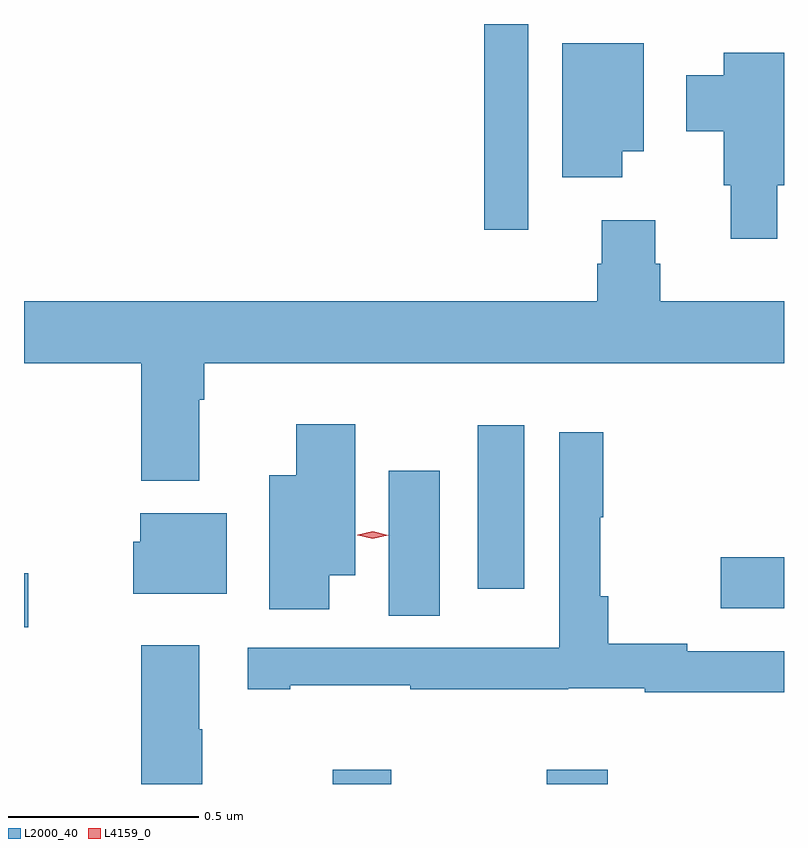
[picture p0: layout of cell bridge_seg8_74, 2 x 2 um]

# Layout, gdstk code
import gdstk
lib = gdstk.Library(unit=1e-6, precision=1e-09)
def R(c, l, rs):  # rectangles x0, y0, x1, y1
    for r in rs: c.add(gdstk.rectangle(r[:2], r[2:], *l))
def P(c, l, *ps):  # polygons
    for p in ps: c.add(gdstk.Polygon(p, *l))
L2000_40 = (2000, 40)
L4159_0 = (4159, 0)

bridge_seg8_74 = lib.new_cell('bridge_seg8_74')
R(bridge_seg8_74, L2000_40, [(1010.356,1103.405,1010.511,1103.443), (1010.92,1103.405,1011.08,1103.443), (1009.544,1103.818,1009.555,1103.96), (1010.504,1103.848,1010.638,1104.229), (1011.378,1103.867,1011.544,1104.002), (1010.738,1103.919,1010.86,1104.349), (1010.755,1104.864,1010.871,1105.405)])
P(bridge_seg8_74, L2000_40, [(1011.118,1105.07),(1011.175,1105.07),(1011.175,1105.354),(1010.96,1105.354),(1010.96,1105.002),(1011.118,1105.002)],
  [(1011.526,1104.981),(1011.544,1104.981),(1011.544,1105.33),(1011.386,1105.33),(1011.386,1105.27),(1011.287,1105.27),(1011.287,1105.123),(1011.386,1105.123),(1011.386,1104.981),(1011.404,1104.981),(1011.404,1104.84),(1011.526,1104.84)],
  [(1010.005,1104.416),(1010.018,1104.416),(1010.018,1104.512),(1011.544,1104.512),(1011.544,1104.676),(1011.218,1104.676),(1011.218,1104.774),(1011.205,1104.774),(1011.205,1104.889),(1011.065,1104.889),(1011.065,1104.774),(1011.053,1104.774),(1011.053,1104.676),(1009.544,1104.676),(1009.544,1104.512),(1009.853,1104.512),(1009.853,1104.203),(1010.005,1104.203)],
  [(1010.347,1103.954),(1010.416,1103.954),(1010.416,1104.352),(1010.261,1104.352),(1010.261,1104.217),(1010.189,1104.217),(1010.189,1103.865),(1010.347,1103.865)],
  [(1011.544,1103.754),(1011.29,1103.754),(1011.29,1103.774),(1011.082,1103.774),(1011.082,1103.899),(1011.061,1103.899),(1011.061,1104.107),(1011.068,1104.107),(1011.068,1104.331),(1010.952,1104.331),(1010.952,1103.764),(1010.742,1103.764),(1010.742,1103.763),(1010.133,1103.763),(1010.133,1103.655),(1010.245,1103.655),(1010.245,1103.665),(1010.561,1103.665),(1010.561,1103.655),(1010.976,1103.655),(1010.976,1103.657),(1011.178,1103.657),(1011.178,1103.646),(1011.544,1103.646)],
  [(1010.077,1104.118),(1009.85,1104.118),(1009.85,1104.042),(1009.832,1104.042),(1009.832,1103.906),(1010.077,1103.906)],
  [(1010.013,1103.549),(1010.005,1103.549),(1010.005,1103.77),(1009.853,1103.77),(1009.853,1103.405),(1010.013,1103.405)])
P(bridge_seg8_74, L4159_0, [(1010.462,1104.05),(1010.422,1104.06),(1010.421,1104.06),(1010.422,1104.061),(1010.462,1104.07),(1010.502,1104.06),(1010.502,1104.06),(1010.502,1104.06)])

lib.write_gds('bridge_seg8_74.gds')
